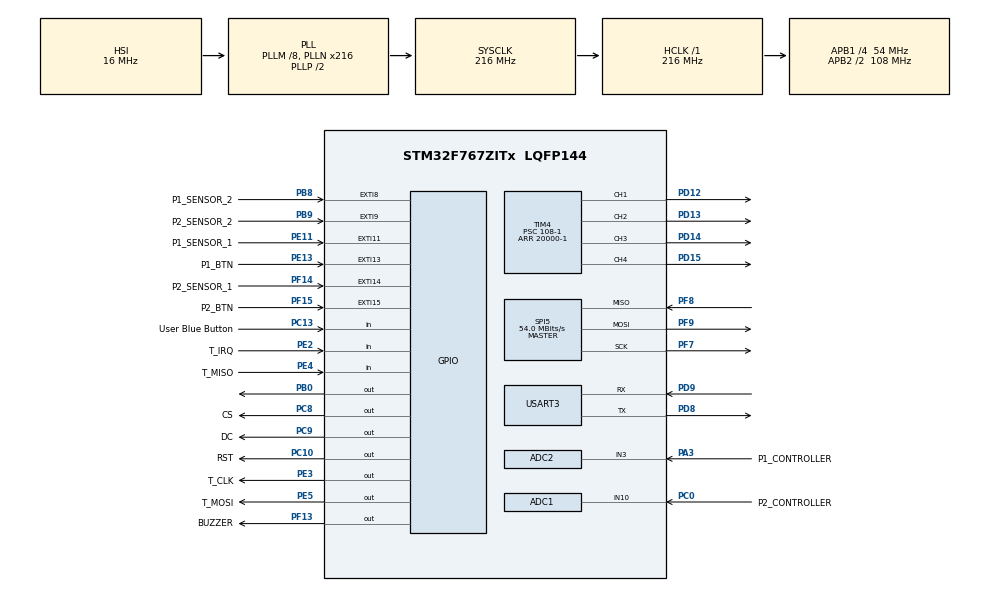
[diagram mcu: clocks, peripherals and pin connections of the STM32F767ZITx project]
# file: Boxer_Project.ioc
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ADC1.Channel-0\#ChannelRegularConversion=ADC_CHANNEL_10
ADC1.ContinuousConvMode=ENABLE
ADC1.EOCSelection=ADC_EOC_SEQ_CONV
ADC1.NbrOfConversionFlag=1
ADC1.Rank-0\#ChannelRegularConversion=1
ADC1.SamplingTime-0\#ChannelRegularConversion=ADC_SAMPLETIME_3CYCLES
ADC1.master=1
ADC2.Channel-0\#ChannelRegularConversion=ADC_CHANNEL_3
ADC2.ContinuousConvMode=ENABLE
ADC2.EOCSelection=ADC_EOC_SEQ_CONV
ADC2.NbrOfConversionFlag=1
ADC2.Rank-0\#ChannelRegularConversion=1
ADC2.SamplingTime-0\#ChannelRegularConversion=ADC_SAMPLETIME_3CYCLES
CORTEX_M7.ART_ACCELERATOR_ENABLE=1
CORTEX_M7.CPU_DCache=Enabled
CORTEX_M7.CPU_ICache=Enabled
CORTEX_M7.MPU_Control=__NULL
CORTEX_M7.PREFETCH_ENABLE=1
CORTEX_M7.default_mode_Activation=1
Mcu.Family=STM32F7
Mcu.Name=STM32F767ZITx
Mcu.Package=LQFP144
NVIC.EXTI15_10_IRQn=true\:3\:0\:true\:false\:true\:true\:true\:true
NVIC.EXTI9_5_IRQn=true\:3\:0\:true\:false\:true\:true\:true\:true
NVIC.PriorityGroup=NVIC_PRIORITYGROUP_4
NVIC.TIM3_IRQn=true\:2\:0\:true\:false\:true\:true\:true\:true
PA3.GPIO_Label=P1_CONTROLLER
PA3.Signal=ADCx_IN3
PB0.Signal=GPIO_Output
PB8.GPIO_Label=P1_SENSOR_2
PB8.Signal=GPXTI8
PB9.GPIO_Label=P2_SENSOR_2
PB9.Signal=GPXTI9
PC0.GPIO_Label=P2_CONTROLLER
PC0.Signal=ADCx_IN10
PC10.GPIO_Label=RST
PC10.GPIO_Speed=GPIO_SPEED_FREQ_VERY_HIGH
PC10.Signal=GPIO_Output
PC13.GPIO_Label=User Blue Button
PC13.Signal=GPIO_Input
PC8.GPIO_Label=CS
PC8.GPIO_Speed=GPIO_SPEED_FREQ_VERY_HIGH
PC8.Signal=GPIO_Output
PC9.GPIO_Label=DC
PC9.GPIO_Speed=GPIO_SPEED_FREQ_VERY_HIGH
PC9.Signal=GPIO_Output
PD12.Signal=S_TIM4_CH1
PD13.Signal=S_TIM4_CH2
PD14.Signal=S_TIM4_CH3
PD15.Signal=S_TIM4_CH4
PD8.Mode=Asynchronous
PD8.Signal=USART3_TX
PD9.Mode=Asynchronous
PD9.Signal=USART3_RX
PE11.GPIO_Label=P1_SENSOR_1
PE11.GPIO_ModeDefaultEXTI=GPIO_MODE_IT_FALLING
PE11.Signal=GPXTI11
PE13.GPIO_Label=P1_BTN
PE13.GPIO_ModeDefaultEXTI=GPIO_MODE_IT_RISING
PE13.Signal=GPXTI13
PE2.GPIO_Label=T_IRQ
PE2.Signal=GPIO_Input
PE3.GPIO_Label=T_CLK
PE3.GPIO_Speed=GPIO_SPEED_FREQ_VERY_HIGH
PE3.Signal=GPIO_Output
PE4.GPIO_Label=T_MISO
PE4.Signal=GPIO_Input
PE5.GPIO_Label=T_MOSI
PE5.GPIO_Speed=GPIO_SPEED_FREQ_VERY_HIGH
PE5.Signal=GPIO_Output
PF13.GPIO_Label=BUZZER
PF13.Signal=GPIO_Output
PF14.GPIO_Label=P2_SENSOR_1
PF14.GPIO_ModeDefaultEXTI=GPIO_MODE_IT_FALLING
PF14.Signal=GPXTI14
PF15.GPIO_Label=P2_BTN
PF15.GPIO_ModeDefaultEXTI=GPIO_MODE_IT_FALLING
PF15.Signal=GPXTI15
PF7.Mode=Full_Duplex_Master
PF7.Signal=SPI5_SCK
PF8.Mode=Full_Duplex_Master
PF8.Signal=SPI5_MISO
PF9.Mode=Full_Duplex_Master
PF9.Signal=SPI5_MOSI
ProjectManager.HeapSize=0x200
ProjectManager.StackSize=0x400
ProjectManager.TargetToolchain=STM32CubeIDE
RCC.AHBFreq_Value=216000000
RCC.APB1CLKDivider=RCC_HCLK_DIV4
RCC.APB1Freq_Value=54000000
RCC.APB1TimFreq_Value=108000000
RCC.APB2CLKDivider=RCC_HCLK_DIV2
RCC.APB2Freq_Value=108000000
RCC.APB2TimFreq_Value=216000000
RCC.CortexFreq_Value=216000000
RCC.HCLKFreq_Value=216000000
RCC.HSE_VALUE=25000000
RCC.HSI_VALUE=16000000
RCC.LSE_VALUE=32768
RCC.PLLM=8
RCC.PLLN=216
RCC.SYSCLKFreq_VALUE=216000000
RCC.SYSCLKSource=RCC_SYSCLKSOURCE_PLLCLK
RCC.USBFreq_Value=216000000
RCC.VCOOutputFreq_Value=432000000
SH.ADCx_IN10.0=ADC1_IN10,IN10
SH.ADCx_IN3.0=ADC2_IN3,IN3
SH.S_TIM4_CH1.0=TIM4_CH1,PWM Generation1 CH1
SH.S_TIM4_CH2.0=TIM4_CH2,PWM Generation2 CH2
SH.S_TIM4_CH3.0=TIM4_CH3,PWM Generation3 CH3
SH.S_TIM4_CH4.0=TIM4_CH4,PWM Generation4 CH4
SPI5.CalculateBaudRate=54.0 MBits/s
SPI5.DataSize=SPI_DATASIZE_8BIT
SPI5.Direction=SPI_DIRECTION_2LINES
SPI5.Mode=SPI_MODE_MASTER
SPI5.NSSPMode=SPI_NSS_PULSE_DISABLE
SPI5.VirtualType=VM_MASTER
TIM1.ClockDivision=TIM_CLOCKDIVISION_DIV2
TIM1.Period=0
TIM1.Prescaler=10000
TIM3.ClockDivision=TIM_CLOCKDIVISION_DIV1
TIM3.Period=1000-1
TIM3.Prescaler=108-1
TIM4.Channel-PWM\ Generation1\ CH1=TIM_CHANNEL_1
TIM4.Channel-PWM\ Generation2\ CH2=TIM_CHANNEL_2
TIM4.Channel-PWM\ Generation3\ CH3=TIM_CHANNEL_3
TIM4.Channel-PWM\ Generation4\ CH4=TIM_CHANNEL_4
TIM4.Period=20000-1
TIM4.Prescaler=108-1
USART3.VirtualMode-Asynchronous=VM_ASYNC
VP_RNG_VS_RNG.Mode=RNG_Activate
VP_TIM1_VS_ClockSourceINT.Mode=Internal
VP_TIM2_VS_ClockSourceINT.Mode=Internal
VP_TIM3_VS_ClockSourceINT.Mode=Internal
VP_TIM4_VS_ClockSourceINT.Mode=Internal
board=custom

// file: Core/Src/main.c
/* USER CODE BEGIN Header */
/**
  ******************************************************************************
  * @file           : main.c
  * @brief          : Main program body
  ******************************************************************************
  * @attention
  *
  * Copyright (c) 2025 STMicroelectronics.
  * All rights reserved.
  *
  * This software is licensed under terms that can be found in the LICENSE file
  * in the root directory of this software component.
  * If no LICENSE file comes with this software, it is provided AS-IS.
  *
  ******************************************************************************
  */
/* USER CODE END Header */
#include "main.h"
#include "adc.h"
#include "rng.h"
#include "spi.h"
#include "tim.h"
#include "usart.h"
#include "gpio.h"

/* USER CODE BEGIN Includes */
//#include "ILI9341/ILI9341_Touchscreen.h"
#include "ILI9341/ILI9341_STM32_Driver.h"
#include "ILI9341/ILI9341_GFX.h"
#include "ILI9341/snow_tiger.h"

#include "stm32f7xx_hal.h"
#include "ILI9341/5x5_font.h"

#include "stdio.h"
#include "string.h"

#include "picture.h"

/* USER CODE END Includes */

/* USER CODE BEGIN PD */
#define SCREEN_W 240
#define SCREEN_H 320

#define P1_COLOR 0xf980
#define P2_COLOR 0x023f

#define BUZZER_PORT GPIOF
/* USER CODE END PD */

/* USER CODE BEGIN PV */
typedef enum { ready = 0, playing = 1, ended = 2} state;
typedef enum { reset = 0, set = 1} flag;

volatile uint16_t p1_controller = 0;
volatile uint16_t p2_controller = 0;

uint32_t timer_count = 0;
uint32_t timer = 0;
uint32_t last_timer = 0;

state game_state = ready;
uint8_t p1_ready = 0;
uint8_t p2_ready = 0;
uint8_t p1_hp = 3;
uint8_t p2_hp = 3;

flag p1_btn_flag = reset;
flag p1_sensor_flag = reset;
uint8_t p1_punch_val = 0;

flag p2_btn_flag = reset;
flag p2_sensor_flag = reset;
uint8_t p2_punch_val = 0;

uint8_t hp_pos_y = 120;
uint8_t hp_size = 30;

uint8_t p_pos_y = 90;
uint8_t p1_pos_x = 30;
uint8_t p2_pos_x = 170;

uint32_t last_blink = 0;
uint8_t animate_timer = 0;

/* USER CODE END PV */

void SystemClock_Config(void);
/* USER CODE BEGIN PFP */

void Draw_Image_From_Data(uint16_t x, uint16_t y, uint16_t width, uint16_t height, const uint16_t* image_data)
{
    uint32_t pixel_index = 0;

    for (uint16_t j = 0; j < height; j++)
    {
        for (uint16_t i = 0; i < width; i++)
        {

            uint16_t color = image_data[pixel_index];

            ILI9341_Draw_Pixel(x + i, y + j, color);

            pixel_index += 1;
        }
    }
}

void draw_p1_hp(uint8_t hp){
	uint16_t x_positions[3] = {30, 63, 96};
	for (uint8_t i = 0; i < 3; i++) {
		if (i < hp) {
			Draw_Image_From_Data(x_positions[i], hp_pos_y, 30, 30, heart_icon);
		} else {
			ILI9341_Draw_Rectangle(x_positions[i], hp_pos_y, hp_size, hp_size, BLACK);
		}
	}
}

void draw_p2_hp(uint8_t hp){
	uint16_t x_positions[3] = {170, 203, 236};
	for (uint8_t i = 0; i < 3; i++) {
		if (i < hp) {
			Draw_Image_From_Data(x_positions[i], hp_pos_y, 30, 30, heart_icon_2);
		} else {
			ILI9341_Draw_Rectangle(x_positions[i], hp_pos_y, hp_size, hp_size, BLACK);
		}
	}
}

void handle_p1_punch(){
	p1_btn_flag = reset;
	p1_punch_val = !p1_punch_val;
	__HAL_TIM_SET_COMPARE(&htim4, TIM_CHANNEL_3, 500 + 2000*p1_punch_val);
	HAL_Delay(50);
}

void handle_p2_punch() {
	p2_btn_flag = reset;
	p2_punch_val = !p2_punch_val;
	__HAL_TIM_SET_COMPARE(&htim4, TIM_CHANNEL_2, 500 + 2000*p2_punch_val);
	HAL_Delay(50);
}

void control_p1_pos(){
	while (HAL_ADC_PollForConversion(&hadc2, 100) != HAL_OK){}
	p1_controller = HAL_ADC_GetValue(&hadc2);

	  uint32_t pulse = 1000 + (p1_controller * 500) / 4096;

	  __HAL_TIM_SET_COMPARE(&htim4, TIM_CHANNEL_4, pulse);
}

void control_p2_pos(){
	while (HAL_ADC_PollForConversion(&hadc1, 100) != HAL_OK){}
	p2_controller = HAL_ADC_GetValue(&hadc1);

	  uint32_t pulse = 1500 - (p2_controller * 500) / 4096;

	  __HAL_TIM_SET_COMPARE(&htim4, TIM_CHANNEL_1, pulse);
}

void handle_p1_got_hit() {
	beep(50);
	HAL_Delay(20);
	beep(50);

    if (p1_hp > 0) (p1_hp)--;
    HAL_Delay(50);
    if (p1_hp == 0) {
        game_state = ended;
    }
    p1_sensor_flag = reset;
}

void handle_p2_got_hit() {
	beep(50);
	HAL_Delay(20);
	beep(50);

    if (p2_hp > 0) (p2_hp)--;
    HAL_Delay(50);
    if (p2_hp == 0) {
        game_state = ended;
    }
    p2_sensor_flag = reset;
}

void display_timer() {
    int time = timer_count / 1000;
    timer = 60 - time%61;

    if (timer != last_timer){
        char timer_str[20];

        int len = sprintf(timer_str, "%-2lu", timer);

        ILI9341_Draw_Text(timer_str, 142, 30, WHITE, 3, BLACK);
        last_timer = timer;
    }
}

void display_result() {
	HAL_Delay(1000);
	beep(50);
	HAL_Delay(100);
	beep(20);
	HAL_Delay(100);
	beep(50);

	for(int i = 0; i < 3; i++){
		if (p1_hp > p2_hp){
			ILI9341_Draw_Text("player 1 wins", 30, 180, P1_COLOR, 3, BLACK);
		}
		else if (p1_hp < p2_hp){
			ILI9341_Draw_Text("player 2 wins", 30, 180, P2_COLOR, 3, BLACK);
		}
		else {
			ILI9341_Draw_Text("TIE", 133, 180, WHITE, 3, BLACK);
		}
		HAL_Delay(500);
		ILI9341_Draw_Text("             ", 30, 180, BLACK, 3, BLACK);
		HAL_Delay(500);

	}
	HAL_Delay(1000);
}

void display_ready_screen(){
	ILI9341_Draw_Text("*BOXING ZONE*", 30, 35, WHITE, 3, BLACK);
	  ILI9341_Draw_Text("Player 1", p1_pos_x, p_pos_y, P1_COLOR, 2, BLACK);
	  ILI9341_Draw_Text("Player 2", p2_pos_x, p_pos_y, P2_COLOR, 2, BLACK);
	  ILI9341_Draw_Text("Press to Start!", 60, 200, WHITE, 2, BLACK);
}

void reset_game(){
  p1_sensor_flag = reset;
  p2_sensor_flag = reset;
	p1_ready = 0;
	p2_ready = 0;
	p1_hp = 3;
	p2_hp = 3;
	timer_count = 0;
	game_state = ready;
	__HAL_TIM_SET_COMPARE(&htim4, TIM_CHANNEL_1, 1250);
	__HAL_TIM_SET_COMPARE(&htim4, TIM_CHANNEL_2, 1250);
	__HAL_TIM_SET_COMPARE(&htim4, TIM_CHANNEL_3, 1250);
	__HAL_TIM_SET_COMPARE(&htim4, TIM_CHANNEL_4, 1250);
}

void display_count_down_screen(){
	ILI9341_Fill_Screen(BLACK);
	ILI9341_Draw_Text("3", 136, 88, WHITE, 8, BLACK);
	beep(50);
	HAL_Delay(1000);

	ILI9341_Draw_Text("2", 136, 88, WHITE, 8, BLACK);
	beep(50);
	HAL_Delay(1000);

	ILI9341_Draw_Text("1", 136, 88, WHITE, 8, BLACK);
	beep(50);
	HAL_Delay(1000);
	beep(300);
	ILI9341_Fill_Screen(BLACK);
}

void handle_start_game(){
	  p1_btn_flag = reset;
	  p2_btn_flag = reset;
	  p1_sensor_flag = reset;
	  p2_sensor_flag = reset;
	  HAL_Delay(1000);
	  display_count_down_screen();
	  game_state = playing;

	  ILI9341_Draw_Text("Player 1", p1_pos_x, p_pos_y, P1_COLOR, 2, BLACK);
	  ILI9341_Draw_Text("Player 2", p2_pos_x, p_pos_y, P2_COLOR, 2, BLACK);
	  draw_p1_hp(p1_hp);
	  draw_p2_hp(p2_hp);
}

void display_press2start() {
    if (HAL_GetTick() - last_blink >= 500) {
        last_blink = HAL_GetTick();
        animate_timer = !animate_timer;
    }

    if (animate_timer) {
        ILI9341_Draw_Text("Press to Start!", 60, 200, WHITE, 2, BLACK);
    } else {
        ILI9341_Draw_Rectangle(60, 200, 180, 16, BLACK);
    }
}

void buzzer_on() {
    HAL_GPIO_WritePin(BUZZER_PORT, BUZZER_Pin, GPIO_PIN_SET);
}

void buzzer_off() {
    HAL_GPIO_WritePin(BUZZER_PORT, BUZZER_Pin, GPIO_PIN_RESET);
}

void beep(uint16_t duration_ms) {
	buzzer_on();
    HAL_Delay(duration_ms);
	buzzer_off();
}
/* USER CODE END PFP */

int main(void)
{

  /* Enable the CPU Cache */

  /* Enable I-Cache---------------------------------------------------------*/
  SCB_EnableICache();

  /* Enable D-Cache---------------------------------------------------------*/
  SCB_EnableDCache();

  /* MCU Configuration--------------------------------------------------------*/

  /* Reset of all peripherals, Initializes the Flash interface and the Systick. */
  HAL_Init();

  /* Configure the system clock */
  SystemClock_Config();

  /* Initialize all configured peripherals */
  MX_GPIO_Init();
  MX_USART3_UART_Init();
  MX_ADC1_Init();
  MX_TIM2_Init();
  MX_SPI5_Init();
  MX_TIM1_Init();
  MX_RNG_Init();
  MX_TIM3_Init();
  MX_TIM4_Init();
  MX_ADC2_Init();
  /* USER CODE BEGIN 2 */
//  start ADC for player controllers
  HAL_ADC_Start(&hadc1);
  HAL_ADC_Start(&hadc2);

  HAL_TIM_PWM_Start(&htim2, TIM_CHANNEL_3);
// start pwm for servo
  HAL_TIM_PWM_Start(&htim4, TIM_CHANNEL_1);
  HAL_TIM_PWM_Start(&htim4, TIM_CHANNEL_2);
  HAL_TIM_PWM_Start(&htim4, TIM_CHANNEL_3);
  HAL_TIM_PWM_Start(&htim4, TIM_CHANNEL_4);

//  LCD Init
  ILI9341_Init();
  MX_TIM2_Init();
  /* USER CODE END 2 */

  /* Infinite loop */
  /* USER CODE BEGIN WHILE */
//  LCD
  ILI9341_Fill_Screen(BLACK);
  ILI9341_Set_Rotation(SCREEN_HORIZONTAL_1);

//  set default servo direction
//  htim2.Instance -> CCR3 = 1250;
  __HAL_TIM_SET_COMPARE(&htim4, TIM_CHANNEL_2, 1250);
  __HAL_TIM_SET_COMPARE(&htim4, TIM_CHANNEL_3, 1250);

//  timer interrupt
  HAL_TIM_Base_Start_IT (&htim3);

  display_ready_screen();
  while (1)
  {
    /* USER CODE END WHILE */

    /* USER CODE BEGIN 3 */
	  switch(game_state){
	  case ready:
		  display_press2start();
		  if (p1_ready == 1){
			  if (!p1_btn_flag) {
				  ILI9341_Draw_Text("Ready!", 50, 120, WHITE, 2, BLACK);
				  p1_btn_flag = set;
				  beep(50);
			  }
		  }
		  if (p2_ready == 1){
			  if (!p2_btn_flag) {
				  ILI9341_Draw_Text("Ready!", 180, 120, WHITE, 2, BLACK);
				  p2_btn_flag = set;
				  beep(50);
				  HAL_Delay(20);
				  beep(50);
			  }
		  }
		  if (p1_ready == 1 && p2_ready == 1){
			  handle_start_game();
		  }
		  break;

	  case playing:
		  control_p1_pos();
		  control_p2_pos();

		  display_timer();

		  if(timer == 0){
			  HAL_UART_Transmit(&huart3, (uint8_t*)"END", strlen("END"), 1000);
			  game_state= ended;
			  continue;
		  }

		  if (p1_btn_flag){
			  handle_p1_punch();
			  HAL_UART_Transmit(&huart3, (uint8_t*)"p1 punch\r\n", strlen("p1 punch\r\n"), 100);

			}

		  if (p2_btn_flag){
			  handle_p2_punch();
			  HAL_UART_Transmit(&huart3, (uint8_t*)"p2 punch\r\n", strlen("p2 punch\r\n"), 100);
		  }

		  if (p1_sensor_flag){
			  handle_p1_got_hit();
			  draw_p1_hp(p1_hp);
			  HAL_UART_Transmit(&huart3, (uint8_t*)"p1 got hit\r\n", strlen("p1 got hit\r\n"), 1000);
		  }

		  if (p2_sensor_flag){
			  handle_p2_got_hit();
			  draw_p2_hp(p2_hp);
			  HAL_UART_Transmit(&huart3, (uint8_t*)"p2 got hit\r\n", strlen("p2 got hit\r\n"), 1000);
		  }
		  break;

	  case ended:
		  display_result();
		  reset_game();
		  ILI9341_Fill_Screen(BLACK);
		  display_ready_screen();
		  break;
	  }
	   HAL_Delay(50);
  }

  /* USER CODE END 3 */
}

void SystemClock_Config(void)
{
  RCC_OscInitTypeDef RCC_OscInitStruct = {0};
  RCC_ClkInitTypeDef RCC_ClkInitStruct = {0};

  /** Configure the main internal regulator output voltage
  */
  __HAL_RCC_PWR_CLK_ENABLE();
  __HAL_PWR_VOLTAGESCALING_CONFIG(PWR_REGULATOR_VOLTAGE_SCALE1);

  /** Initializes the RCC Oscillators according to the specified parameters
  * in the RCC_OscInitTypeDef structure.
  */
  RCC_OscInitStruct.OscillatorType = RCC_OSCILLATORTYPE_HSI;
  RCC_OscInitStruct.HSIState = RCC_HSI_ON;
  RCC_OscInitStruct.HSICalibrationValue = RCC_HSICALIBRATION_DEFAULT;
  RCC_OscInitStruct.PLL.PLLState = RCC_PLL_ON;
  RCC_OscInitStruct.PLL.PLLSource = RCC_PLLSOURCE_HSI;
  RCC_OscInitStruct.PLL.PLLM = 8;
  RCC_OscInitStruct.PLL.PLLN = 216;
  RCC_OscInitStruct.PLL.PLLP = RCC_PLLP_DIV2;
  RCC_OscInitStruct.PLL.PLLQ = 2;
  RCC_OscInitStruct.PLL.PLLR = 2;
  if (HAL_RCC_OscConfig(&RCC_OscInitStruct) != HAL_OK)
  {
    Error_Handler();
  }

  /** Activate the Over-Drive mode
  */
  if (HAL_PWREx_EnableOverDrive() != HAL_OK)
  {
    Error_Handler();
  }

  /** Initializes the CPU, AHB and APB buses clocks
  */
  RCC_ClkInitStruct.ClockType = RCC_CLOCKTYPE_HCLK|RCC_CLOCKTYPE_SYSCLK
                              |RCC_CLOCKTYPE_PCLK1|RCC_CLOCKTYPE_PCLK2;
  RCC_ClkInitStruct.SYSCLKSource = RCC_SYSCLKSOURCE_PLLCLK;
  RCC_ClkInitStruct.AHBCLKDivider = RCC_SYSCLK_DIV1;
  RCC_ClkInitStruct.APB1CLKDivider = RCC_HCLK_DIV4;
  RCC_ClkInitStruct.APB2CLKDivider = RCC_HCLK_DIV2;

  if (HAL_RCC_ClockConfig(&RCC_ClkInitStruct, FLASH_LATENCY_7) != HAL_OK)
  {
    Error_Handler();
  }
}

/* USER CODE BEGIN 4 */
void HAL_GPIO_EXTI_Callback(uint16_t GPIO_Pin) {
	switch (GPIO_Pin){
		case P1_SENSOR_1_Pin:
			p1_sensor_flag = set;
			break;

		case P2_SENSOR_1_Pin:
			p2_sensor_flag = set;
			break;

		case P1_SENSOR_2_Pin:
			p1_sensor_flag = set;
			break;

		case P2_SENSOR_2_Pin:
			p2_sensor_flag = set;
			break;

		case P1_BTN_Pin:
			if (game_state == 0){
				p1_ready = 1;

			}
			else{
				p1_btn_flag = set;
			}
			break;

		case P2_BTN_Pin:
			if (game_state == 0){
				p2_ready = 1;
			}
			else{
				p2_btn_flag = set;
			}
			break;

		default:
			break;
	}
}
/* USER CODE END 4 */

void Error_Handler(void)
{
  __disable_irq();
  while (1)
  {
  }
}
